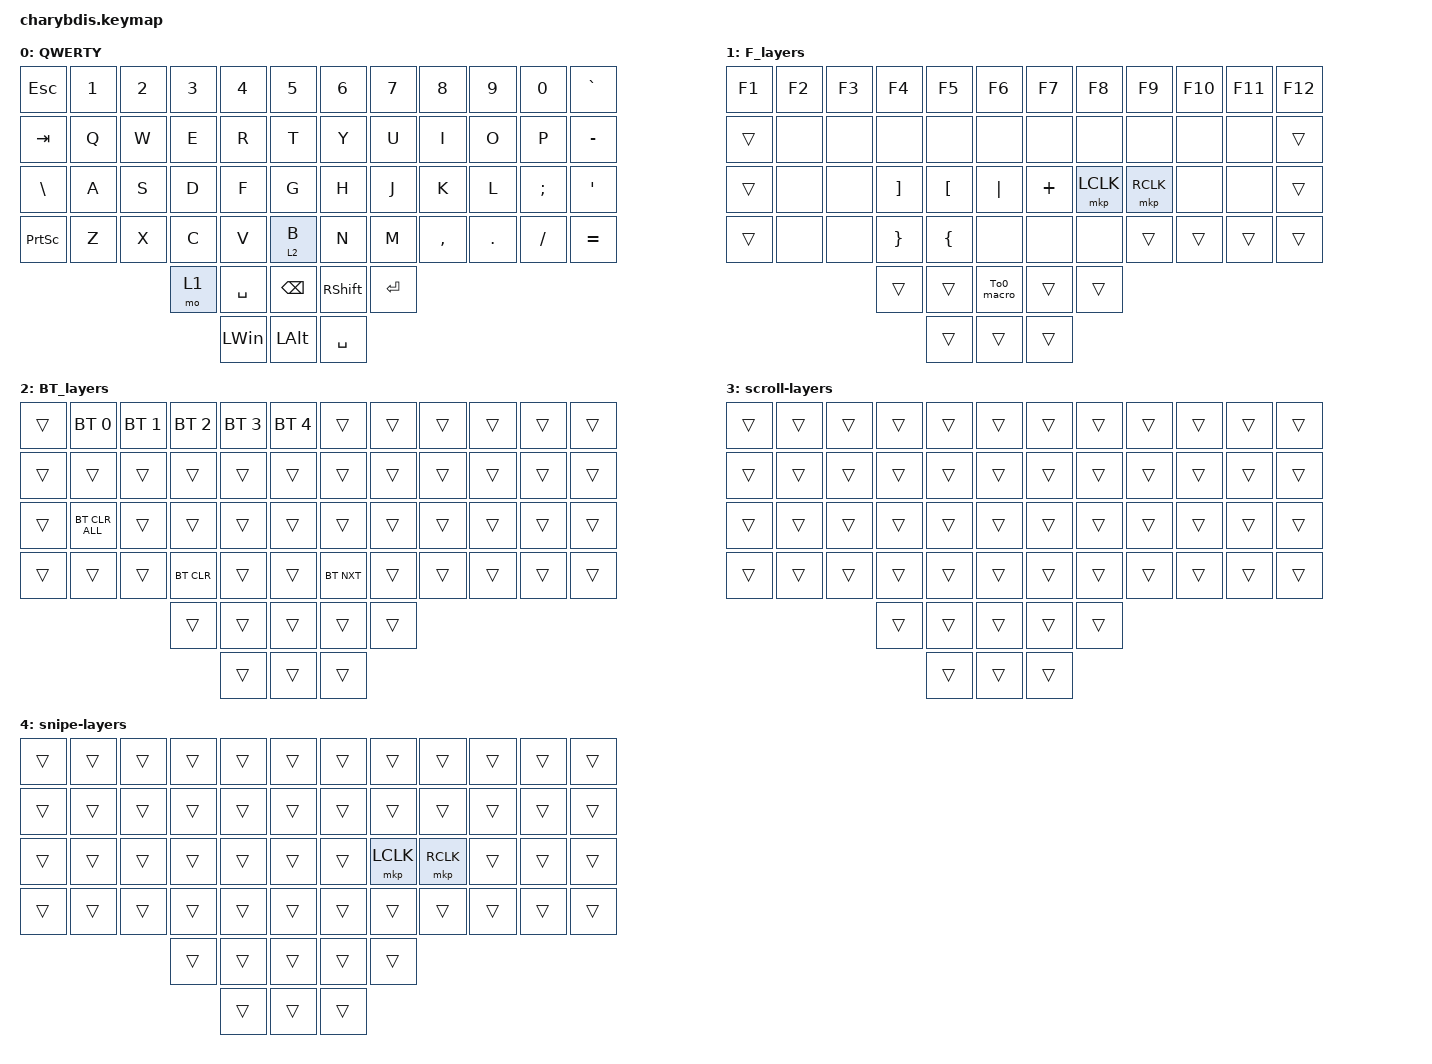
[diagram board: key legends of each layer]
#include <behaviors.dtsi>
#include <dt-bindings/zmk/bt.h>
#include <dt-bindings/zmk/keys.h>
#include <dt-bindings/zmk/pointing.h>
#include <dt-bindings/zmk/rgb.h>

&lt {
    tapping-term-ms = <200>;
    flavor = "balanced";
    quick-tap-ms = <150>;
};

/ {
    macros {
        To1_macro: To1_macro {
            compatible = "zmk,behavior-macro";
            label = "To1_macro";
            #binding-cells = <0>;
            bindings = <&rgb_ug RGB_EFF &rgb_ug RGB_COLOR_HSB(128,100,50) &to 1>;
        };

        To0_macro: To0_macro {
            compatible = "zmk,behavior-macro";
            label = "To0_macro";
            #binding-cells = <0>;
            bindings = <&rgb_ug RGB_EFR &to 0>;
        };

        To2_macro: To2_macro {
            compatible = "zmk,behavior-macro";
            label = "To2_macro";
            #binding-cells = <0>;
            bindings =
                <&to 2>,
                <&macro_wait_time 30>,
                <&rgb_ug RGB_COLOR_HSB(250,100,50)>;
        };
    };

    keymap {
        compatible = "zmk,keymap";

        QWERTY {
            bindings = <
&kp ESC          &kp N1  &kp N2  &kp N3  &kp N4        &kp N5           &kp N6           &kp N7     &kp N8     &kp N9   &kp N0    &kp GRAVE
&kp TAB          &kp Q   &kp W   &kp E   &kp R         &kp T            &kp Y            &kp U      &kp I      &kp O    &kp P     &kp MINUS
&kp BACKSLASH    &kp A   &kp S   &kp D   &kp F         &kp G            &kp H            &kp J      &kp K      &kp L    &kp SEMI  &kp SQT
&kp PRINTSCREEN  &kp Z   &kp X   &kp C   &kp V         &lt 2 B          &kp N            &kp M      &kp COMMA  &kp DOT  &kp FSLH  &kp EQUAL
                                 &mo 1   &kp SPACE     &kp BACKSPACE    &kp RIGHT_SHIFT  &kp ENTER
                                         &kp LEFT_WIN  &kp LEFT_ALT     &kp SPACE
            >;
        };

        F_layers {
            bindings = <
&kp F1  &kp F2  &kp F3  &kp F4             &kp F5            &kp F6        &kp F7    &kp F8     &kp F9     &kp F10  &kp F11  &kp F12
&trans  &none   &none   &none              &none             &none         &none     &none      &none      &none    &none    &trans
&trans  &none   &none   &kp RIGHT_BRACKET  &kp LEFT_BRACKET  &kp PIPE      &kp PLUS  &mkp LCLK  &mkp RCLK  &none    &none    &trans
&trans  &none   &none   &kp RIGHT_BRACE    &kp LEFT_BRACE    &none         &none     &none      &trans     &trans   &trans   &trans
                        &trans             &trans            &To0_macro    &trans    &trans
                                           &trans            &trans        &trans
            >;
        };

        BT_layers {
            bindings = <
&trans  &bt BT_SEL 0    &bt BT_SEL 1  &bt BT_SEL 2  &bt BT_SEL 3  &bt BT_SEL 4    &trans      &trans  &trans  &trans  &trans  &trans
&trans  &trans          &trans        &trans        &trans        &trans          &trans      &trans  &trans  &trans  &trans  &trans
&trans  &bt BT_CLR_ALL  &trans        &trans        &trans        &trans          &trans      &trans  &trans  &trans  &trans  &trans
&trans  &trans          &trans        &bt BT_CLR    &trans        &trans          &bt BT_NXT  &trans  &trans  &trans  &trans  &trans
                                      &trans        &trans        &trans          &trans      &trans
                                                    &trans        &trans          &trans
            >;
        };

        scroll-layers {
            bindings = <
&trans  &trans  &trans  &trans  &trans  &trans    &trans  &trans  &trans  &trans  &trans  &trans
&trans  &trans  &trans  &trans  &trans  &trans    &trans  &trans  &trans  &trans  &trans  &trans
&trans  &trans  &trans  &trans  &trans  &trans    &trans  &trans  &trans  &trans  &trans  &trans
&trans  &trans  &trans  &trans  &trans  &trans    &trans  &trans  &trans  &trans  &trans  &trans
                        &trans  &trans  &trans    &trans  &trans
                                &trans  &trans    &trans
            >;
        };

        snipe-layers {
            bindings = <
&trans  &trans  &trans  &trans  &trans  &trans    &trans  &trans     &trans     &trans  &trans  &trans
&trans  &trans  &trans  &trans  &trans  &trans    &trans  &trans     &trans     &trans  &trans  &trans
&trans  &trans  &trans  &trans  &trans  &trans    &trans  &mkp LCLK  &mkp RCLK  &trans  &trans  &trans
&trans  &trans  &trans  &trans  &trans  &trans    &trans  &trans     &trans     &trans  &trans  &trans
                        &trans  &trans  &trans    &trans  &trans
                                &trans  &trans    &trans
            >;
        };
    };
};
